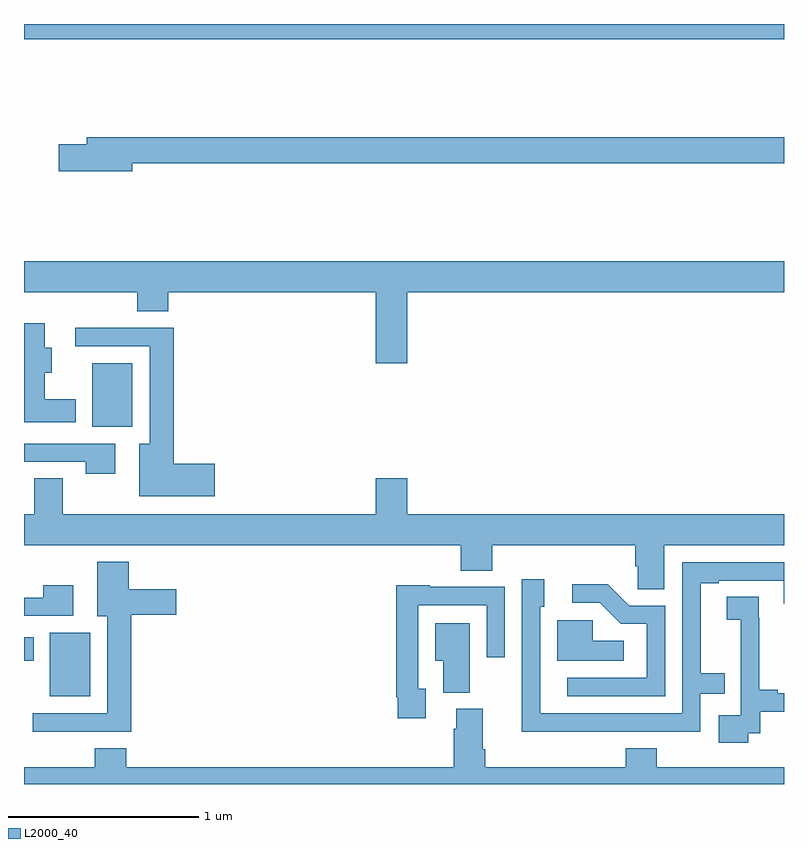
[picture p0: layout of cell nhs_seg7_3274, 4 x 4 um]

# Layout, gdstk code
import gdstk
lib = gdstk.Library(unit=1e-6, precision=1e-09)
def R(c, l, rs):  # rectangles x0, y0, x1, y1
    for r in rs: c.add(gdstk.rectangle(r[:2], r[2:], *l))
def P(c, l, *ps):  # polygons
    for p in ps: c.add(gdstk.Polygon(p, *l))
L2000_40 = (2000, 40)

nhs_seg7_3274 = lib.new_cell('nhs_seg7_3274')
R(nhs_seg7_3274, L2000_40, [(319.136,1026.461,319.348,1026.796), (319,1026.65,319.051,1026.772), (319.358,1027.88,319.57,1028.215), (319,1029.92,323,1030)])
P(nhs_seg7_3274, L2000_40, [(319.57,1029.268),(323,1029.268),(323,1029.404),(319.331,1029.404),(319.331,1029.368),(319.182,1029.368),(319.182,1029.226),(319.57,1029.226)],
  [(321.016,1028.588),(323,1028.588),(323,1028.752),(319,1028.752),(319,1028.588),(319.595,1028.588),(319.595,1028.489),(319.76,1028.489),(319.76,1028.588),(320.852,1028.588),(320.852,1028.214),(321.016,1028.214)],
  [(319.273,1028.026),(319.108,1028.026),(319.108,1028.165),(319.147,1028.165),(319.147,1028.295),(319.108,1028.295),(319.108,1028.425),(319,1028.425),(319,1027.904),(319.273,1027.904)],
  [(320.005,1027.685),(319.787,1027.685),(319.787,1028.402),(319.269,1028.402),(319.269,1028.304),(319.661,1028.304),(319.661,1027.792),(319.607,1027.792),(319.607,1027.514),(320.005,1027.514)],
  [(319.48,1027.791),(319,1027.791),(319,1027.695),(319.324,1027.695),(319.324,1027.632),(319.48,1027.632)],
  [(322.369,1027.256),(323,1027.256),(323,1027.42),(321.016,1027.42),(321.016,1027.609),(320.852,1027.609),(320.852,1027.42),(319.203,1027.42),(319.203,1027.61),(319.055,1027.61),(319.055,1027.42),(319,1027.42),(319,1027.256),(321.299,1027.256),(321.299,1027.123),(321.464,1027.123),(321.464,1027.256),(322.217,1027.256),(322.217,1027.147),(322.23,1027.147),(322.23,1027.024),(322.369,1027.024)],
  [(319.565,1026.89),(319.801,1026.89),(319.801,1027.024),(319.552,1027.024),(319.552,1027.171),(319.385,1027.171),(319.385,1026.884),(319.439,1026.884),(319.439,1026.372),(319.047,1026.372),(319.047,1026.275),(319.565,1026.275)],
  [(322.082,1026.276),(322.56,1026.276),(322.56,1026.474),(322.688,1026.474),(322.688,1026.583),(322.561,1026.583),(322.561,1027.056),(322.657,1027.056),(322.657,1027.071),(322.998,1027.071),(322.998,1026.948),(323,1026.948),(323,1027.167),(322.464,1027.167),(322.464,1026.372),(321.717,1026.372),(321.717,1026.933),(321.739,1026.933),(321.739,1027.078),(321.621,1027.078),(321.621,1026.578),(321.62,1026.578),(321.62,1026.275),(322.082,1026.275)],
  [(322.374,1026.939),(322.185,1026.939),(322.072,1027.052),(321.885,1027.052),(321.885,1026.954),(322.029,1026.954),(322.14,1026.843),(322.278,1026.843),(322.278,1026.558),(321.858,1026.558),(321.858,1026.462),(322.374,1026.462)],
  [(321.115,1026.501),(321.075,1026.501),(321.075,1026.942),(321.435,1026.942),(321.435,1026.666),(321.531,1026.666),(321.531,1027.038),(321.135,1027.038),(321.135,1027.045),(320.959,1027.045),(320.959,1026.457),(320.967,1026.457),(320.967,1026.345),(321.115,1026.345)],
  [(319.258,1027.045),(319.102,1027.045),(319.102,1026.981),(319,1026.981),(319,1026.885),(319.258,1026.885)],
  [(322.812,1026.267),(322.874,1026.267),(322.874,1026.381),(323,1026.381),(323,1026.477),(322.966,1026.477),(322.966,1026.497),(322.87,1026.497),(322.87,1026.875),(322.868,1026.875),(322.868,1026.986),(322.698,1026.986),(322.698,1026.865),(322.772,1026.865),(322.772,1026.667),(322.773,1026.667),(322.773,1026.363),(322.656,1026.363),(322.656,1026.216),(322.812,1026.216)],
  [(322.156,1026.754),(321.993,1026.754),(321.993,1026.861),(321.806,1026.861),(321.806,1026.65),(322.156,1026.65)],
  [(321.346,1026.847),(321.164,1026.847),(321.164,1026.65),(321.206,1026.65),(321.206,1026.481),(321.346,1026.481)],
  [(323,1026.088),(322.331,1026.088),(322.331,1026.187),(322.166,1026.187),(322.166,1026.088),(321.428,1026.088),(321.428,1026.184),(321.415,1026.184),(321.415,1026.396),(321.275,1026.396),(321.275,1026.29),(321.263,1026.29),(321.263,1026.088),(319.538,1026.088),(319.538,1026.187),(319.373,1026.187),(319.373,1026.088),(319,1026.088),(319,1026),(323,1026)])

lib.write_gds('nhs_seg7_3274.gds')
